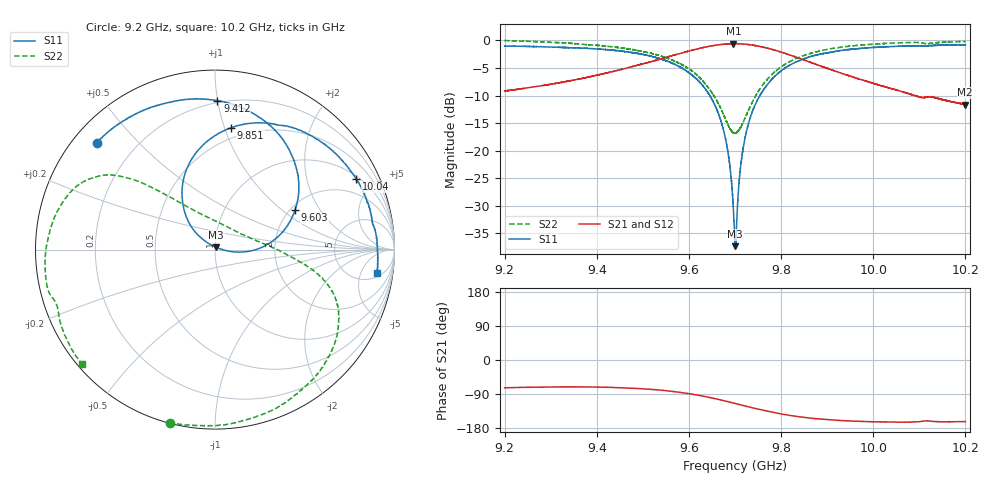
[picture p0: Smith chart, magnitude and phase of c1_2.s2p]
!Agilent Technologies,N5242A,MY51221714,A.09.90.19
!Agilent N5242A: A.09.90.19
!Date: Tuesday, March 26, 2024 17:00:07
!Correction: S11(Full 2 Port(1,2))
!S21(Full 2 Port(1,2))
!S12(Full 2 Port(1,2))
!S22(Full 2 Port(1,2))
!S2P File: Measurements: S11, S21, S12, S22:
# Hz S  dB  R 50
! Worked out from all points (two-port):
!   16001 points, 9.2 GHz to 10.2 GHz, reference 50 ohm
!   highest |S21| = -0.59 dB at 9.697 GHz (marker M1); lowest = -11.6 dB at 10.2 GHz (marker M2)
!   |S21| within 3 dB of the highest: 9.529369 GHz to 9.529382 GHz (12.93 kHz wide, 0.000136 % of centre); 9.53 GHz to 9.851 GHz (321.6 MHz wide, 3.32 % of centre)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
!   lowest |S11| = -37.3 dB at 9.701 GHz (marker M3), VSWR 1.03, Z = 50.5 + j1.25 ohm
!   |S11| at or under -10 dB: 9.645 GHz to 9.754 GHz (108.9 MHz wide, 1.12 % of centre)
!   |S22| runs from -16.9 to 0.0 dB; largest |S21 - S12| = 0.012
!   S11 on the Smith chart (normalised r, x): 9.2 GHz: 0.07, +0.38; 9.412 GHz: 0.19, +1.00; 9.603 GHz: 2.12, +1.24; 9.851 GHz: 0.41, +1.05; 10.04 GHz: 1.13, +3.94; 10.2 GHz: 6, -10
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9.2e9  -1.03 138.0  -9.18 -73.4  -9.16 -74.1  -0.03 -104.7
9.278688e9  -1.14 121.0  -8.24 -71.6  -8.23 -72.2  -0.25 -83.3
9.366688e9  -1.40 100.6  -6.93 -71.1  -6.91 -71.7  -0.69 -60.5
9.412062e9  -1.62 89.1  -6.10 -71.8  -6.09 -72.3  -0.98 -49.2
9.533375e9  -3.25 52.9  -3.49 -79.0  -3.48 -79.6  -2.66 -22.9
9.603312e9  -6.07 26.2  -1.86 -89.5  -1.85 -90.1  -5.37 -11.0
9.64225e9  -9.60 9.0  -1.10 -98.2  -1.10 -98.8  -8.58 -1.8
9.66925e9  -14.57 -2.6  -0.76 -105.5  -0.74 -106.1  -12.38 11.2
9.686438e9  -21.21 -6.2  -0.63 -110.5  -0.62 -111.1  -15.62 33.6
9.696562e9  -30.71 7.6  -0.59 -113.6  -0.58 -114.2  -16.77 55.3
9.7e9  -36.84 48.3  -0.60 -114.7  -0.59 -115.3  -16.82 63.6
9.700562e9  -37.34 65.8  -0.61 -114.8  -0.59 -115.4  -16.83 65.2
9.717875e9  -19.50 139.8  -0.66 -120.2  -0.64 -120.7  -14.80 101.6
9.74125e9  -12.14 130.9  -0.90 -127.1  -0.88 -127.8  -10.59 124.0
9.78875e9  -6.32 108.7  -1.83 -139.6  -1.84 -140.4  -5.53 136.8
9.851062e9  -3.30 82.4  -3.59 -151.6  -3.58 -152.2  -2.68 145.4
9.866688e9  -2.88 76.7  -4.06 -153.8  -4.07 -154.2  -2.29 147.8
9.934438e9  -1.78 54.7  -6.05 -160.1  -6.06 -160.6  -1.19 159.3
1.003338e10  -1.15 28.2  -8.62 -163.6  -8.60 -164.2  -0.52 180.0
1.004056e10  -1.10 26.5  -8.76 -163.6  -8.76 -164.2  -0.49 -178.4
1.019969e10  -0.80 -8.2  -11.64 -162.5  -11.63 -163.1  -0.19 -139.3
1.02e10  -0.79 -8.4  -11.63 -162.5  -11.63 -163.0  -0.20 -139.2
